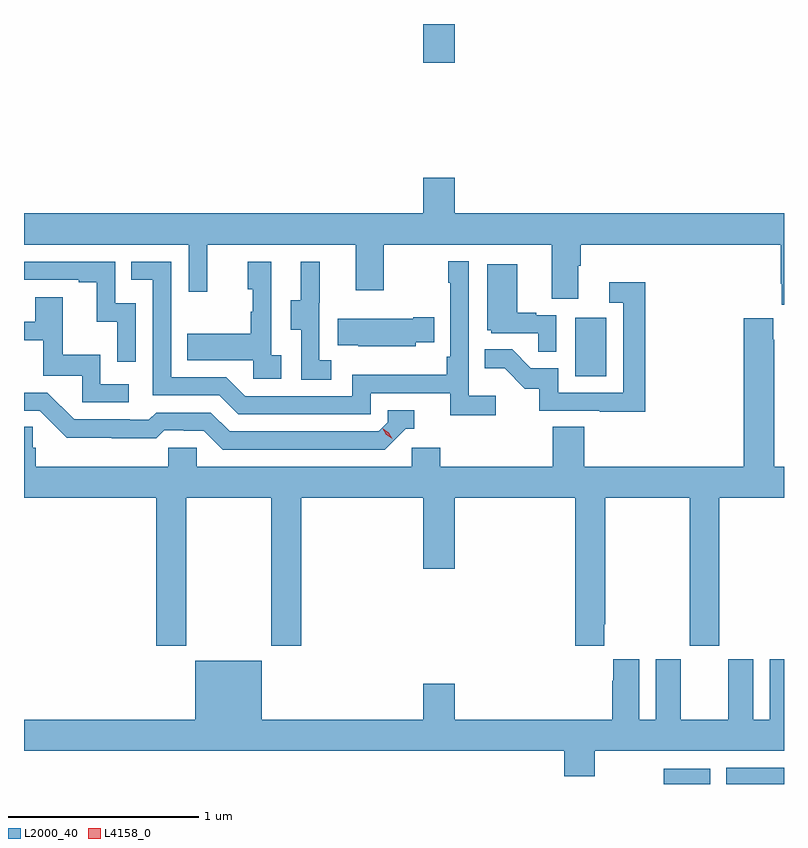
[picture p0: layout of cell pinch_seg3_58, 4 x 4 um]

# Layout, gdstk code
import gdstk
lib = gdstk.Library(unit=1e-6, precision=1e-09)
def R(c, l, rs):  # rectangles x0, y0, x1, y1
    for r in rs: c.add(gdstk.rectangle(r[:2], r[2:], *l))
def P(c, l, *ps):  # polygons
    for p in ps: c.add(gdstk.Polygon(p, *l))
L2000_40 = (2000, 40)
L4158_0 = (4158, 0)

pinch_seg3_58 = lib.new_cell('pinch_seg3_58')
R(pinch_seg3_58, L2000_40, [(1065.372,739.369,1065.617,739.449), (1065.702,739.369,1066.006,739.455), (1064.906,741.516,1065.07,741.823), (1064.108,743.166,1064.272,743.369)])
P(pinch_seg3_58, L2000_40, [(1066.006,742.372),(1064.272,742.372),(1064.272,742.561),(1064.108,742.561),(1064.108,742.372),(1062.006,742.372),(1062.006,742.208),(1062.873,742.208),(1062.873,741.96),(1062.971,741.96),(1062.971,742.208),(1063.751,742.208),(1063.751,741.969),(1063.899,741.969),(1063.899,742.208),(1064.783,742.208),(1064.783,741.922),(1064.923,741.922),(1064.923,742.096),(1064.936,742.096),(1064.936,742.208),(1065.989,742.208),(1065.989,742.003),(1065.995,742.003),(1065.995,741.891),(1066.006,741.891)],
  [(1064.488,741.412),(1064.346,741.412),(1064.346,742.12),(1064.238,742.12),(1064.238,742.007),(1064.25,742.007),(1064.25,741.619),(1064.23,741.619),(1064.23,741.523),(1063.734,741.523),(1063.734,741.411),(1063.17,741.411),(1063.071,741.51),(1062.78,741.51),(1062.78,742.119),(1062.571,742.119),(1062.571,742.023),(1062.684,742.023),(1062.684,741.414),(1063.034,741.414),(1063.133,741.315),(1063.83,741.315),(1063.83,741.426),(1064.249,741.426),(1064.249,741.31),(1064.488,741.31)],
  [(1062.594,741.9),(1062.486,741.9),(1062.486,742.119),(1062.006,742.119),(1062.006,742.023),(1062.293,742.023),(1062.293,742.011),(1062.389,742.011),(1062.389,741.803),(1062.498,741.803),(1062.498,741.591),(1062.594,741.591)],
  [(1063.36,741.626),(1063.308,741.626),(1063.308,742.117),(1063.184,742.117),(1063.184,741.972),(1063.21,741.972),(1063.21,741.854),(1063.2,741.854),(1063.2,741.739),(1062.865,741.739),(1062.865,741.599),(1063.212,741.599),(1063.212,741.501),(1063.36,741.501)],
  [(1063.624,741.599),(1063.56,741.599),(1063.56,741.903),(1063.562,741.903),(1063.562,742.117),(1063.463,742.117),(1063.463,741.915),(1063.409,741.915),(1063.409,741.76),(1063.464,741.76),(1063.464,741.496),(1063.624,741.496)],
  [(1064.808,741.837),(1064.702,741.837),(1064.702,741.85),(1064.602,741.85),(1064.602,742.105),(1064.444,742.105),(1064.444,741.756),(1064.466,741.756),(1064.466,741.741),(1064.713,741.741),(1064.713,741.643),(1064.808,741.643)],
  [(1065.275,742.009),(1065.087,742.009),(1065.087,741.903),(1065.159,741.903),(1065.159,741.429),(1064.817,741.429),(1064.817,741.558),(1064.673,741.558),(1064.575,741.656),(1064.431,741.656),(1064.431,741.557),(1064.535,741.557),(1064.642,741.45),(1064.719,741.45),(1064.719,741.333),(1065.037,741.333),(1065.037,741.328),(1065.275,741.328)],
  [(1062.556,741.474),(1062.408,741.474),(1062.408,741.628),(1062.209,741.628),(1062.209,741.931),(1062.065,741.931),(1062.065,741.801),(1062.006,741.801),(1062.006,741.705),(1062.107,741.705),(1062.107,741.519),(1062.312,741.519),(1062.312,741.378),(1062.556,741.378)],
  [(1064.067,741.695),(1064.165,741.695),(1064.165,741.825),(1064.054,741.825),(1064.054,741.817),(1063.657,741.817),(1063.657,741.677),(1063.765,741.677),(1063.765,741.674),(1064.067,741.674)],
  [(1062.861,740.876),(1063.306,740.876),(1063.306,740.097),(1063.466,740.097),(1063.466,740.876),(1064.108,740.876),(1064.108,740.502),(1064.272,740.502),(1064.272,740.876),(1064.906,740.876),(1064.906,740.097),(1065.061,740.097),(1065.061,740.209),(1065.066,740.209),(1065.066,740.876),(1065.511,740.876),(1065.511,740.097),(1065.666,740.097),(1065.666,740.876),(1066.006,740.876),(1066.006,741.04),(1065.954,741.04),(1065.954,741.707),(1065.949,741.707),(1065.949,741.82),(1065.794,741.82),(1065.794,741.04),(1064.954,741.04),(1064.954,741.248),(1064.789,741.248),(1064.789,741.04),(1064.198,741.04),(1064.198,741.138),(1064.046,741.138),(1064.046,741.04),(1062.915,741.04),(1062.915,741.138),(1062.765,741.138),(1062.765,741.04),(1062.068,741.04),(1062.068,741.138),(1062.053,741.138),(1062.053,741.248),(1062.006,741.248),(1062.006,740.876),(1062.701,740.876),(1062.701,740.097),(1062.861,740.097)],
  [(1064.016,741.24),(1064.059,741.24),(1064.059,741.336),(1063.92,741.336),(1063.92,741.273),(1063.872,741.225),(1063.089,741.225),(1062.99,741.324),(1062.701,741.324),(1062.662,741.285),(1062.563,741.285),(1062.563,741.288),(1062.27,741.288),(1062.129,741.429),(1062.006,741.429),(1062.006,741.333),(1062.09,741.333),(1062.232,741.191),(1062.468,741.191),(1062.468,741.189),(1062.701,741.189),(1062.743,741.231),(1062.846,741.231),(1062.846,741.228),(1062.953,741.228),(1063.052,741.129),(1063.905,741.129)],
  [(1065.009,739.544),(1066.006,739.544),(1066.006,740.026),(1065.932,740.026),(1065.932,739.708),(1065.844,739.708),(1065.844,740.026),(1065.713,740.026),(1065.713,739.708),(1065.463,739.708),(1065.463,740.026),(1065.332,740.026),(1065.332,739.708),(1065.244,739.708),(1065.244,740.026),(1065.107,740.026),(1065.107,739.913),(1065.101,739.913),(1065.101,739.708),(1064.272,739.708),(1064.272,739.897),(1064.108,739.897),(1064.108,739.708),(1063.258,739.708),(1063.258,740.017),(1062.908,740.017),(1062.908,739.708),(1062.006,739.708),(1062.006,739.544),(1064.849,739.544),(1064.849,739.409),(1065.009,739.409)])
P(pinch_seg3_58, L4158_0, [(1063.943,741.187),(1063.912,741.206),(1063.895,741.238),(1063.895,741.238),(1063.896,741.238),(1063.926,741.219),(1063.943,741.187),(1063.943,741.187)])

lib.write_gds('pinch_seg3_58.gds')
